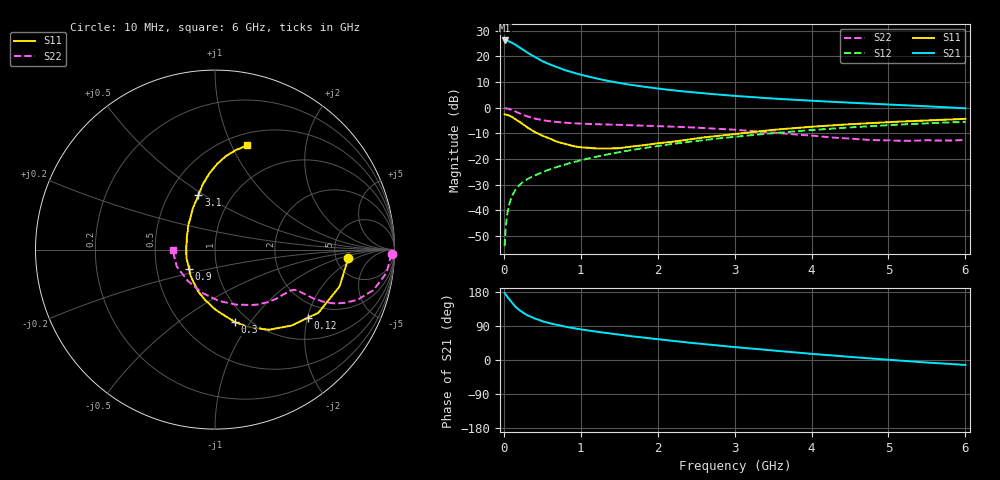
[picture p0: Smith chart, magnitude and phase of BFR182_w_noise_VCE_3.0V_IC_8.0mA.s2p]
! Infineon Technologies  Discrete & RF Semiconductors
! BFR182
! VCE =  3.0 V,  IC =  8.0 mA
! Common Emitter S-Parameters:  Nov 2015
# GHz  S  MA  R  50
!  f  S11  S21  S12  S22
! GHz  MAG  ANG  MAG  ANG  MAG  ANG  MAG  ANG
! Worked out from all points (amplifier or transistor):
!   210 points, 10 MHz to 6 GHz, reference 50 ohm
!   highest |S21| = 26.2 dB at 10 MHz (marker M1)
!   |S21| within 3 dB of that: start of sweep to 217.4 MHz
!   unconditionally stable (mu >= 1): 863.5 MHz to 2.685 GHz
!   at 185 MHz: K = 0.45, MSG = 27.3 dB, |S12| = -30.7 dB
!   at 1.52 GHz: K = 1.05, MAG = 12.0 dB, |S12| = -17.2 dB
!   at 6 GHz: K = 0.89, MSG = 2.7 dB, |S12| = -5.5 dB
!   lowest NFmin = 1.40 dB at 450 MHz
!   S11 on the Smith chart (normalised r, x): 10 MHz: 6.52, -1.32; 120 MHz: 1.55, -2.01; 300 MHz: 0.87, -0.85; 900 MHz: 0.73, -0.16; 3.1 GHz: 0.70, +0.47; 6 GHz: 0.62, +1.15
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0.01  0.7435 -3.5  20.49 177.0  0.002 88.7  0.9853 -1.5
0.03  0.7297 -9.8  20.27 171.1  0.0056 84.0  0.9718 -4.7
0.05  0.7238 -16.5  20.22 165.5  0.0095 80.5  0.9642 -7.7
0.1  0.6749 -31.4  18.73 152.7  0.0181 76.6  0.9116 -14.3
0.12  0.6408 -36.4  17.93 148.2  0.0208 73.7  0.8834 -16.2
0.15  0.6001 -44.9  16.95 140.6  0.025 70.6  0.8432 -19.3
0.2  0.538 -56.1  15.15 131.8  0.0308 67.5  0.7796 -22.4
0.24  0.4859 -63.8  13.71 126.1  0.0349 65.5  0.7366 -24.0
0.3  0.4189 -74.6  11.97 118.4  0.04 64.6  0.682 -25.5
0.4  0.3371 -89.1  9.776 109.6  0.0478 64.1  0.6152 -26.4
0.5  0.2854 -101.3  8.103 102.3  0.055 64.7  0.5712 -26.4
0.6  0.2498 -112.6  6.962 96.8  0.0631 65.2  0.5439 -26.4
0.7  0.2154 -123.9  6.088 92.0  0.0708 65.8  0.5246 -26.4
0.9  0.1792 -143.6  4.832 84.1  0.0864 66.4  0.498 -26.8
1.02  0.1682 -155.3  4.328 80.2  0.0962 66.5  0.4885 -27.4
1.4  0.1617 171.6  3.229 69.5  0.127 66.1  0.4678 -30.7
1.7  0.1779 150.8  2.72 61.7  0.1531 64.8  0.4528 -33.9
2.02  0.204 136.5  2.344 54.5  0.1815 62.8  0.4389 -38.4
3.1  0.3182 106.8  1.661 32.4  0.2809 53.8  0.3626 -58.2
4.1  0.4357 93.0  1.345 14.7  0.3761 43.2  0.2768 -89.5
5.1  0.5326 82.2  1.14 -0.9  0.4664 30.9  0.228 -135.2
6  0.6075 72.9  0.977 -13.1  0.5306 18.4  0.2356 -179.4
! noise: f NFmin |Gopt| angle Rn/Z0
0.45  1.4  0.26  41  0.29
0.9  1.5  0.25  83  0.23
1.8  2  0.21  162  0.2
